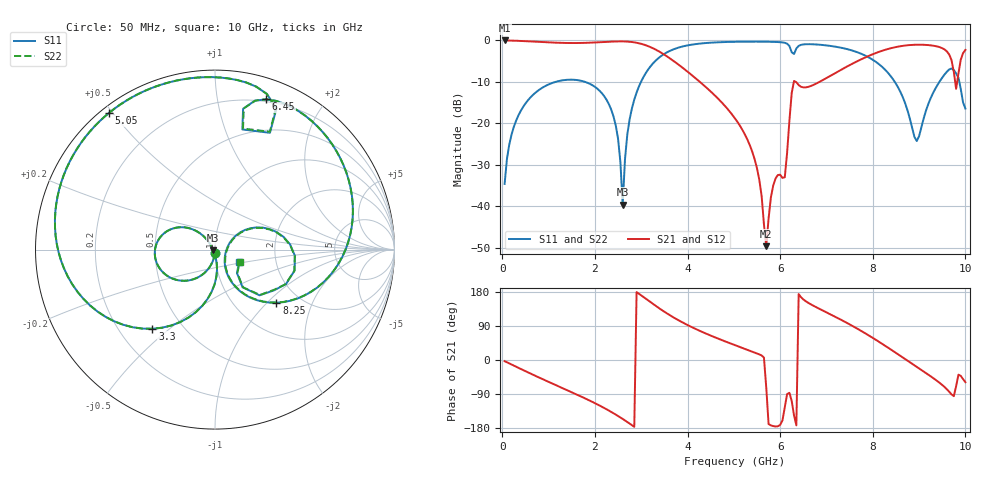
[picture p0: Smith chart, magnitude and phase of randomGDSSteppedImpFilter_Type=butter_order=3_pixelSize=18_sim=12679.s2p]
! freq	dB(S11)	phase(S11)	dB(S12)	phase(S12)
!  dB(S21)	phase(S21)	dB(S22)	phase(S22)
!S-par simulation data
#  GHz  S  DB  R 50
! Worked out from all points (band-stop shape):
!   200 points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, 50 MHz to 10 GHz, reference 50 ohm
!   highest |S21| = -0.01 dB at 50 MHz (marker M1); lowest = -49.6 dB at 5.7 GHz (marker M2)
!   |S21| within 3 dB of the highest: start of sweep to 3.438 GHz; 8.073 GHz to 9.624 GHz (1.551 GHz wide, 17.5 % of centre) (the widest 2 of 3)
!   lowest |S11| = -39.6 dB at 2.6 GHz (marker M3), VSWR 1.02, Z = 49.1 - j0.467 ohm
!   |S11| at or under -10 dB: start of sweep to 1.148 GHz; 1.786 GHz to 2.995 GHz (1.208 GHz wide, 50.5 % of centre); 8.475 GHz to 9.439 GHz (963.7 MHz wide, 10.8 % of centre) (the widest 3 of 4)
!   |S22| runs from -39.7 to -0.3 dB; largest |S21 - S12| = 0
!   S11 on the Smith chart (normalised r, x): 50 MHz: 1.00, -0.04; 3.3 GHz: 0.34, -0.44; 5.05 GHz: 0.02, +0.49; 6.45 GHz: 0.18, +1.38; 8.25 GHz: 1.53, -1.14; 10 GHz: 1.30, -0.18
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0.05  -34.62 -92.9  -0.01 -3.0  -0.01 -3.0  -34.62 -92.9
0.5  -15.21 -120.0  -0.17 -29.5  -0.17 -29.5  -15.21 -120.0
1.75  -9.87 170.7  -0.60 -99.1  -0.60 -99.1  -9.87 170.7
2.4  -18.27 132.5  -0.26 -140.4  -0.26 -140.4  -18.28 132.4
2.6  -39.58 -153.1  -0.23 -155.5  -0.23 -155.5  -39.72 -153.0
2.8  -16.35 -87.2  -0.38 -172.1  -0.38 -172.1  -16.35 -87.1
3.3  -5.00 -128.3  -2.14 143.9  -2.14 143.9  -5.00 -128.3
3.4  -4.02 -136.6  -2.75 135.4  -2.75 135.4  -4.02 -136.6
5.05  -0.32 127.7  -19.19 38.0  -19.19 38.0  -0.32 127.7
5.5  -0.30 107.3  -30.86 17.2  -30.86 17.2  -0.29 107.4
5.7  -0.31 98.0  -49.62 -72.7  -49.62 -72.7  -0.31 98.1
5.85  -0.35 90.7  -34.99 -174.4  -34.99 -174.4  -0.35 90.7
6.1  -0.57 75.8  -32.99 -125.0  -32.99 -125.0  -0.57 75.9
6.3  -3.27 77.2  -9.76 -146.3  -9.76 -146.3  -3.20 77.0
6.45  -1.07 71.2  -11.17 165.7  -11.17 165.7  -1.06 71.1
6.7  -0.92 55.9  -10.82 144.3  -10.82 144.3  -0.92 55.8
8.25  -6.88 -40.8  -2.32 38.9  -2.32 38.9  -6.88 -40.6
8.35  -8.10 -47.5  -2.00 30.9  -2.00 30.9  -8.08 -47.1
8.95  -24.25 -12.7  -1.03 -18.1  -1.03 -18.1  -23.86 -13.0
9.65  -7.00 -4.4  -3.40 -83.7  -3.40 -83.7  -7.01 -4.8
9.8  -7.96 -34.5  -11.68 -69.1  -11.68 -69.1  -8.02 -34.4
10  -16.42 -26.7  -2.29 -58.5  -2.29 -58.5  -16.25 -27.1
